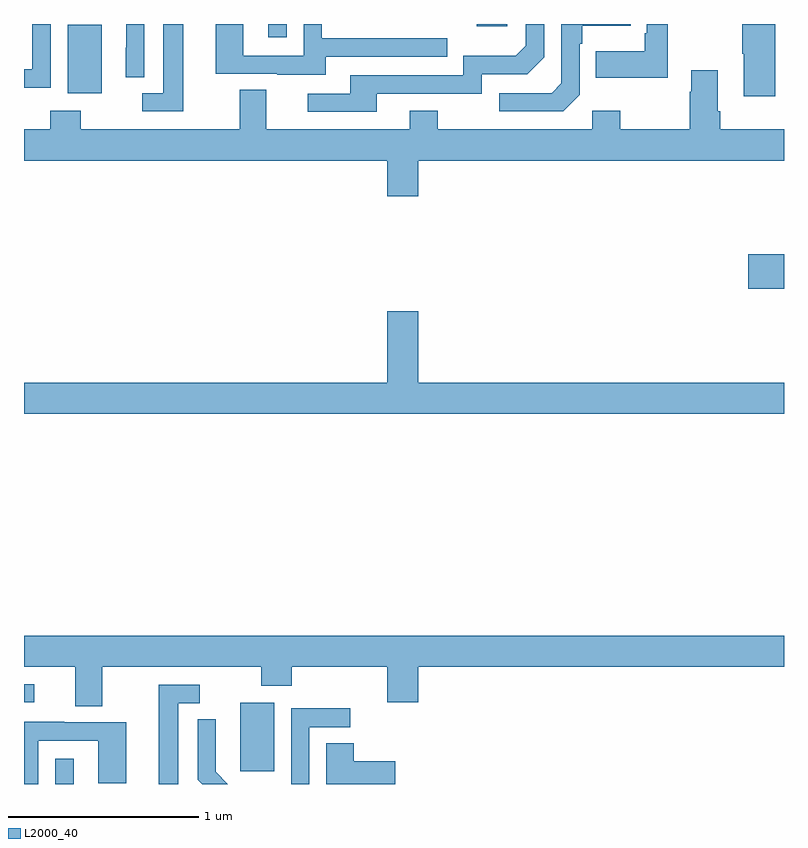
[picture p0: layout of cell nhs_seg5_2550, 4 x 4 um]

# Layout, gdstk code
import gdstk
lib = gdstk.Library(unit=1e-6, precision=1e-09)
def R(c, l, rs):  # rectangles x0, y0, x1, y1
    for r in rs: c.add(gdstk.rectangle(r[:2], r[2:], *l))
def P(c, l, *ps):  # polygons
    for p in ps: c.add(gdstk.Polygon(p, *l))
L2000_40 = (2000, 40)

nhs_seg5_2550 = lib.new_cell('nhs_seg5_2550')
R(nhs_seg5_2550, L2000_40, [(259.164,866.799,259.261,866.932), (260.138,866.865,260.317,867.226), (259,867.228,259.054,867.324), (262.812,869.405,263,869.588), (259.229,870.434,259.408,870.795), (260.285,870.729,260.382,870.799), (261.383,870.788,261.544,870.799)])
P(nhs_seg5_2550, L2000_40, [(261.924,870.426),(261.924,870.695),(261.937,870.695),(261.937,870.791),(262.193,870.791),(262.193,870.799),(261.828,870.799),(261.828,870.486),(261.777,870.435),(261.501,870.435),(261.501,870.339),(261.837,870.339)],
  [(260.857,870.432),(261.408,870.432),(261.408,870.534),(261.648,870.534),(261.738,870.624),(261.738,870.799),(261.642,870.799),(261.642,870.684),(261.589,870.631),(261.312,870.631),(261.312,870.528),(260.717,870.528),(260.717,870.432),(260.493,870.432),(260.493,870.336),(260.857,870.336)],
  [(259.632,870.799),(259.536,870.799),(259.538,870.797),(259.538,870.674),(259.536,870.674),(259.536,870.52),(259.632,870.52)],
  [(259.14,870.799),(259.044,870.799),(259.044,870.561),(259,870.561),(259,870.463),(259.14,870.463)],
  [(259.837,870.799),(259.733,870.799),(259.733,870.435),(259.623,870.435),(259.623,870.339),(259.837,870.339)],
  [(262.955,870.799),(262.78,870.799),(262.78,870.643),(262.787,870.643),(262.787,870.42),(262.955,870.42)],
  [(260.587,870.627),(261.227,870.627),(261.227,870.723),(260.568,870.723),(260.568,870.799),(260.472,870.799),(260.472,870.633),(260.154,870.633),(260.154,870.799),(260.009,870.799),(260.009,870.537),(260.333,870.537),(260.333,870.533),(260.587,870.533)],
  [(262.387,870.799),(262.278,870.799),(262.278,870.751),(262.266,870.751),(262.266,870.655),(262.009,870.655),(262.009,870.515),(262.387,870.515)],
  [(261.076,870.08),(263,870.08),(263,870.244),(262.664,870.244),(262.664,870.34),(262.651,870.34),(262.651,870.556),(262.511,870.556),(262.511,870.443),(262.504,870.443),(262.504,870.244),(262.137,870.244),(262.137,870.343),(261.99,870.343),(261.99,870.244),(261.177,870.244),(261.177,870.343),(261.029,870.343),(261.029,870.244),(260.275,870.244),(260.275,870.452),(260.135,870.452),(260.135,870.244),(259.299,870.244),(259.299,870.343),(259.139,870.343),(259.139,870.244),(259,870.244),(259,870.08),(260.912,870.08),(260.912,869.892),(261.076,869.892)],
  [(263,868.912),(261.076,868.912),(261.076,869.287),(260.912,869.287),(260.912,868.912),(259,868.912),(259,868.748),(263,868.748)],
  [(259.411,867.416),(260.248,867.416),(260.248,867.317),(260.408,867.317),(260.408,867.416),(260.912,867.416),(260.912,867.228),(261.076,867.228),(261.076,867.416),(263,867.416),(263,867.58),(259,867.58),(259,867.416),(259.271,867.416),(259.271,867.208),(259.411,867.208)],
  [(259.813,867.225),(259.924,867.225),(259.924,867.321),(259.709,867.321),(259.709,866.799),(259.813,866.799)],
  [(260.502,867.099),(260.716,867.099),(260.716,867.198),(260.406,867.198),(260.406,866.799),(260.502,866.799)],
  [(260.009,866.864),(260.009,866.986),(260.01,866.986),(260.01,867.14),(259.914,867.14),(259.914,866.822),(259.937,866.799),(260.073,866.799)],
  [(259.074,867.027),(259.392,867.027),(259.392,866.803),(259.537,866.803),(259.537,867.123),(259.213,867.123),(259.213,867.127),(259,867.127),(259,866.799),(259.074,866.799)],
  [(260.953,866.919),(260.735,866.919),(260.735,867.014),(260.591,867.014),(260.591,866.799),(260.953,866.799)])

lib.write_gds('nhs_seg5_2550.gds')
